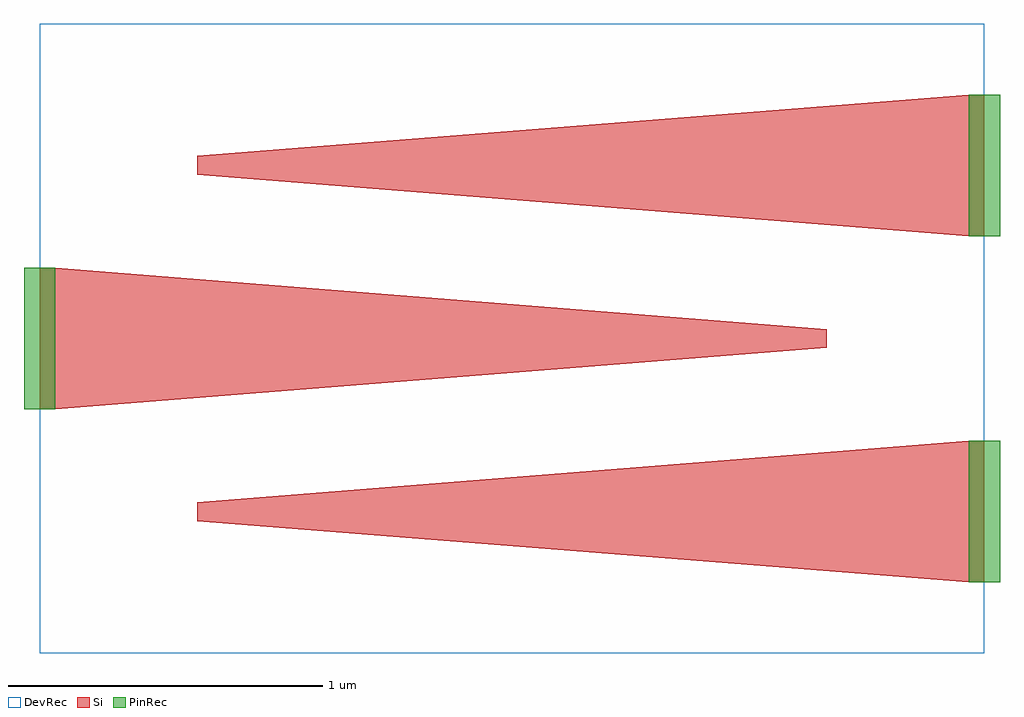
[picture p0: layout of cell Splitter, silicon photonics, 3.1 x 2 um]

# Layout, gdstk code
import gdstk
lib = gdstk.Library(unit=1e-6, precision=1e-09)
def R(c, l, rs):  # rectangles x0, y0, x1, y1
    for r in rs: c.add(gdstk.rectangle(r[:2], r[2:], *l))
def P(c, l, *ps):  # polygons
    for p in ps: c.add(gdstk.Polygon(p, *l))
Si = (1, 0)
PinRec = (1, 10)
DevRec = (68, 0)

splitter_example = lib.new_cell('splitter_example')
R(splitter_example, Si, [(2.95,-0.775,3,-0.325), (0,-0.225,0.05,0.225), (2.95,0.325,3,0.775)])
P(splitter_example, Si, [(0.05,-0.225),(0.05,0.225),(2.5,0.03),(2.5,-0.03)],
  [(2.95,0.325),(0.5,0.52),(0.5,0.58),(2.95,0.775)],
  [(2.95,-0.775),(0.5,-0.58),(0.5,-0.52),(2.95,-0.325)])
R(splitter_example, DevRec, [(0,-1,3,1)])
splitter_example.add(gdstk.FlexPath([(0.05,0),(-0.05,0)], 0.45, ends="flush", simple_path=True, layer=1, datatype=10))  # PinRec
splitter_example.add(gdstk.FlexPath([(2.95,0.55),(3.05,0.55)], 0.45, ends="flush", simple_path=True, layer=1, datatype=10))  # PinRec
splitter_example.add(gdstk.FlexPath([(2.95,-0.55),(3.05,-0.55)], 0.45, ends="flush", simple_path=True, layer=1, datatype=10))  # PinRec
splitter_example.add(gdstk.Label('opt2', (3,0.55), layer=1, texttype=10))
splitter_example.add(gdstk.Label('opt3', (3,-0.55), layer=1, texttype=10))
splitter_example.add(gdstk.Label('opt1', (0,0), layer=1, texttype=10))

splitter = lib.new_cell('Splitter')
P(splitter, Si, [(0.4,0.775),(0.4,0.775),(0.4,0.775),(0.4,0.775)])
splitter.add(gdstk.Reference(splitter_example, (0,0)))

lib.write_gds('Splitter.gds')
